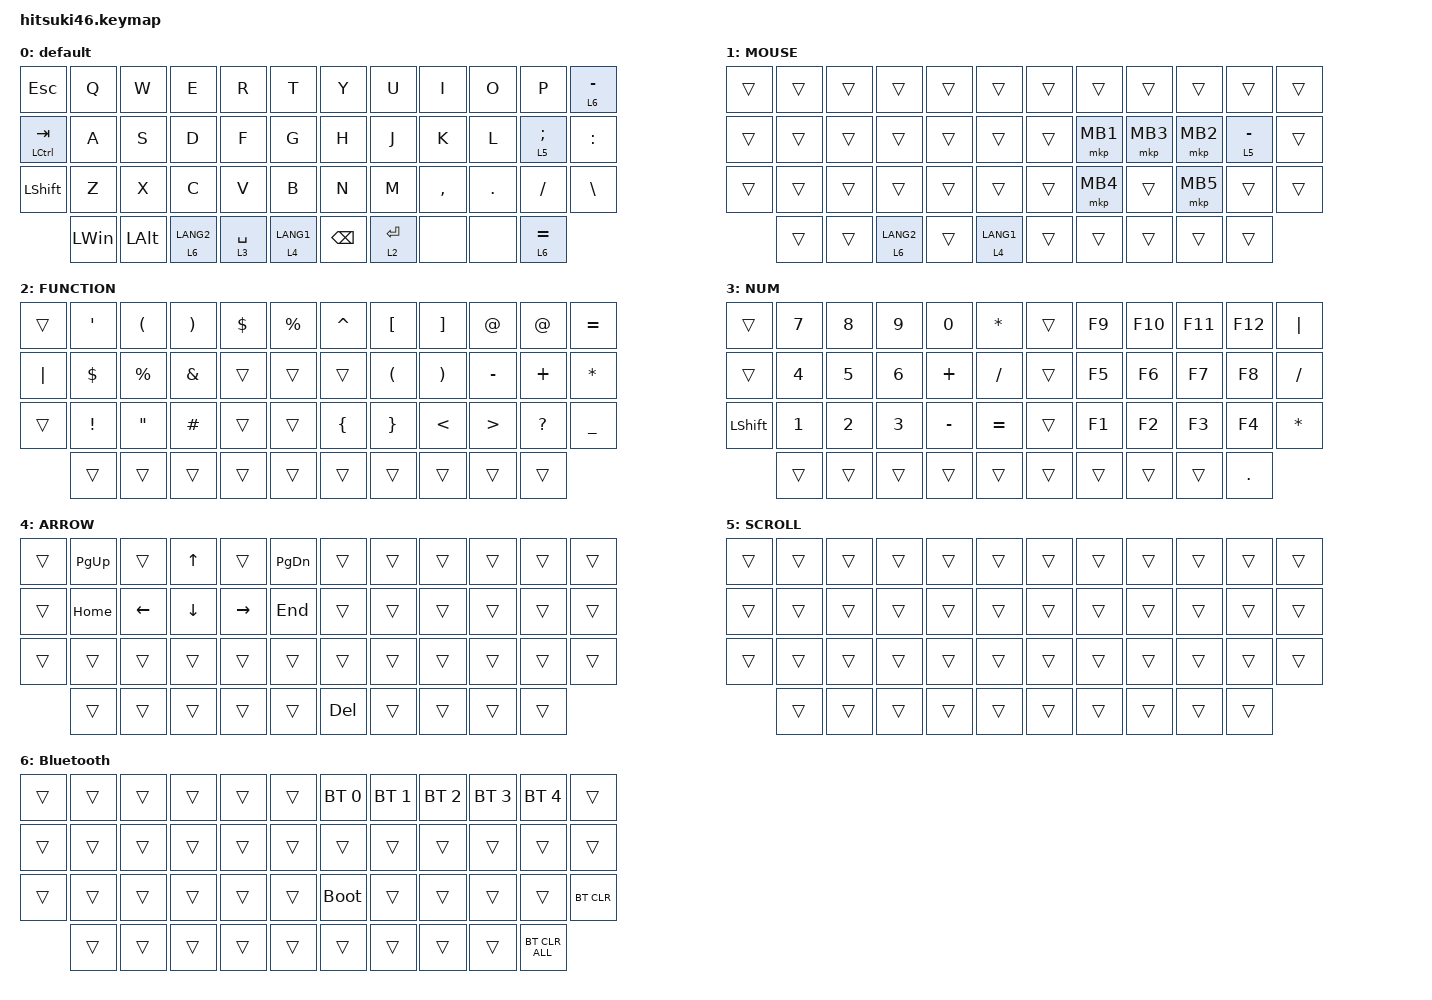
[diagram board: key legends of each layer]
#include <behaviors.dtsi>
#include <dt-bindings/zmk/bt.h>
#include <dt-bindings/zmk/keys.h>
#include <dt-bindings/zmk/pointing.h>

&mt {
    flavor = "balanced";
    quick-tap-ms = <0>;
};

// &trackball {
//     // Note: automouse-layer and scroll-layers are no longer supported in badjeff/zmk-pmw3610-driver
//     // These features should now be configured using layer-based zmk,input-listener in keymap
//     // automouse-layer = <1>;
//     // scroll-layers = <5>;
// };

/ {
    combos {
        compatible = "zmk,combos";

        shift_tab {
            bindings = <&kp LS(TAB)>;
            key-positions = <12 13>;
        };
    };

    macros {
        to_layer_0: to_layer_0 {
            compatible = "zmk,behavior-macro-one-param";
            #binding-cells = <1>;
            bindings = <&to 0 &macro_param_1to1 &kp MACRO_PLACEHOLDER>;
            label = "TO_LAYER_0";
        };
    };

    behaviors {
        lt_to_layer_0: lt_to_layer_0 {
            compatible = "zmk,behavior-hold-tap";
            label = "LAYER_TAP_TO_0";
            bindings = <&mo>, <&to_layer_0>;

            #binding-cells = <2>;
            tapping-term-ms = <200>;
        };
    };

    keymap {
        compatible = "zmk,keymap";

        default {
            bindings = <
&kp ESCAPE      &kp Q         &kp W         &kp E                   &kp R        &kp T                   &kp Y          &kp U        &kp I      &kp O       &kp P            &lt 6 MINUS
&mt LCTRL TAB   &kp A         &kp S         &kp D                   &kp F        &kp G                   &kp H          &kp J        &kp K      &kp L       &lt 5 SEMICOLON  &kp COLON
&kp LEFT_SHIFT  &kp Z         &kp X         &kp C                   &kp V        &kp B                   &kp N          &kp M        &kp COMMA  &kp PERIOD  &kp SLASH        &kp BACKSLASH
                &kp LEFT_WIN  &kp LEFT_ALT  &lt_to_layer_0 6 LANG2  &lt 3 SPACE  &lt_to_layer_0 4 LANG1  &kp BACKSPACE  &lt 2 ENTER  &none      &none       &lt 6 EQUAL
            >;
        };

        MOUSE {
            bindings = <
&trans  &trans  &trans  &trans                  &trans  &trans                  &trans  &trans    &trans    &trans    &trans       &trans
&trans  &trans  &trans  &trans                  &trans  &trans                  &trans  &mkp MB1  &mkp MB3  &mkp MB2  &lt 5 MINUS  &trans
&trans  &trans  &trans  &trans                  &trans  &trans                  &trans  &mkp MB4  &trans    &mkp MB5  &trans       &trans
        &trans  &trans  &lt_to_layer_0 6 LANG2  &trans  &lt_to_layer_0 4 LANG1  &trans  &trans    &trans    &trans    &trans
            >;
        };

        FUNCTION {
            bindings = <
&trans    &kp SQT          &kp LEFT_PARENTHESIS  &kp RIGHT_PARENTHESIS  &kp DOLLAR  &kp PERCENT  &kp CARET       &kp LEFT_BRACKET      &kp RIGHT_BRACKET      &kp AT_SIGN       &kp AT_SIGN   &kp EQUAL
&kp PIPE  &kp DOLLAR       &kp PERCENT           &kp AMPERSAND          &trans      &trans       &trans          &kp LEFT_PARENTHESIS  &kp RIGHT_PARENTHESIS  &kp MINUS         &kp PLUS      &kp STAR
&trans    &kp EXCLAMATION  &kp DOUBLE_QUOTES     &kp HASH               &trans      &trans       &kp LEFT_BRACE  &kp RIGHT_BRACE       &kp LESS_THAN          &kp GREATER_THAN  &kp QUESTION  &kp UNDERSCORE
          &trans           &trans                &trans                 &trans      &trans       &trans          &trans                &trans                 &trans            &trans
            >;
        };

        NUM {
            bindings = <
&trans          &kp N7        &kp N8        &kp N9        &kp N0     &kp ASTERISK  &trans  &kp F9  &kp F10  &kp F11  &kp F12     &kp PIPE
&trans          &kp NUMBER_4  &kp N5        &kp NUMBER_6  &kp PLUS   &kp SLASH     &trans  &kp F5  &kp F6   &kp F7   &kp F8      &kp SLASH
&kp LEFT_SHIFT  &kp NUMBER_1  &kp NUMBER_2  &kp NUMBER_3  &kp MINUS  &kp EQUAL     &trans  &kp F1  &kp F2   &kp F3   &kp F4      &kp ASTERISK
                &trans        &trans        &trans        &trans     &trans        &trans  &trans  &trans   &trans   &kp PERIOD
            >;
        };

        ARROW {
            bindings = <
&trans  &kp PAGE_UP  &trans    &kp UP    &trans     &kp PAGE_DOWN  &trans   &trans  &trans  &trans  &trans  &trans
&trans  &kp HOME     &kp LEFT  &kp DOWN  &kp RIGHT  &kp END        &trans   &trans  &trans  &trans  &trans  &trans
&trans  &trans       &trans    &trans    &trans     &trans         &trans   &trans  &trans  &trans  &trans  &trans
        &trans       &trans    &trans    &trans     &trans         &kp DEL  &trans  &trans  &trans  &trans
            >;
        };

        SCROLL {
            bindings = <
&trans  &trans  &trans  &trans  &trans  &trans  &trans  &trans  &trans  &trans  &trans  &trans
&trans  &trans  &trans  &trans  &trans  &trans  &trans  &trans  &trans  &trans  &trans  &trans
&trans  &trans  &trans  &trans  &trans  &trans  &trans  &trans  &trans  &trans  &trans  &trans
        &trans  &trans  &trans  &trans  &trans  &trans  &trans  &trans  &trans  &trans
            >;
        };

        Bluetooth {
            bindings = <
&trans  &trans  &trans  &trans  &trans  &trans  &bt BT_SEL 0  &bt BT_SEL 1  &bt BT_SEL 2  &bt BT_SEL 3  &bt BT_SEL 4    &trans
&trans  &trans  &trans  &trans  &trans  &trans  &trans        &trans        &trans        &trans        &trans          &trans
&trans  &trans  &trans  &trans  &trans  &trans  &bootloader   &trans        &trans        &trans        &trans          &bt BT_CLR
        &trans  &trans  &trans  &trans  &trans  &trans        &trans        &trans        &trans        &bt BT_CLR_ALL
            >;
        };
    };
};
